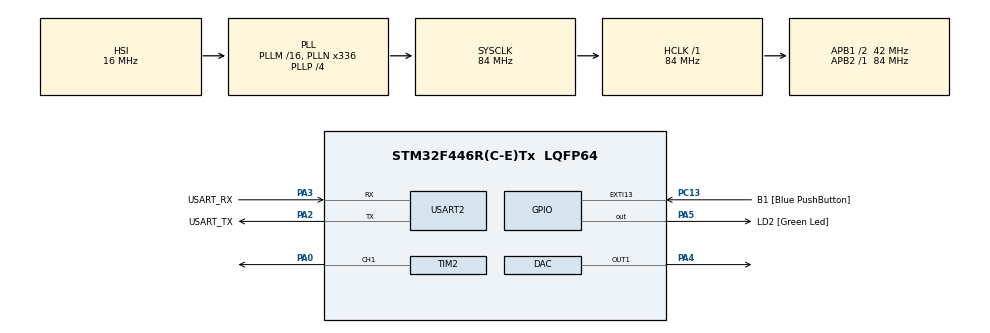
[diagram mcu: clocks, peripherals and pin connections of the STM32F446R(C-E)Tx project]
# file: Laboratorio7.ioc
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DAC.DAC_Trigger=DAC_TRIGGER_T6_TRGO
Dma.DAC1.0.Direction=DMA_MEMORY_TO_PERIPH
Dma.DAC1.0.FIFOMode=DMA_FIFOMODE_DISABLE
Dma.DAC1.0.Instance=DMA1_Stream5
Dma.DAC1.0.MemDataAlignment=DMA_MDATAALIGN_HALFWORD
Dma.DAC1.0.MemInc=DMA_MINC_ENABLE
Dma.DAC1.0.Mode=DMA_CIRCULAR
Dma.DAC1.0.PeriphDataAlignment=DMA_PDATAALIGN_HALFWORD
Dma.DAC1.0.PeriphInc=DMA_PINC_DISABLE
Dma.DAC1.0.Priority=DMA_PRIORITY_LOW
Dma.Request0=DAC1
Mcu.Family=STM32F4
Mcu.Name=STM32F446R(C-E)Tx
Mcu.Package=LQFP64
NVIC.DMA1_Stream5_IRQn=true\:0\:0\:false\:false\:true\:false\:true\:true
NVIC.PriorityGroup=NVIC_PRIORITYGROUP_0
NVIC.USART2_IRQn=true\:0\:0\:false\:false\:true\:true\:true\:true
PA0-WKUP.Signal=S_TIM2_CH1_ETR
PA13.GPIO_Label=TMS
PA13.Mode=Serial_Wire
PA13.Signal=SYS_JTMS-SWDIO
PA14.GPIO_Label=TCK
PA14.Mode=Serial_Wire
PA14.Signal=SYS_JTCK-SWCLK
PA2.GPIO_Label=USART_TX
PA2.Mode=Asynchronous
PA2.Signal=USART2_TX
PA3.GPIO_Label=USART_RX
PA3.Mode=Asynchronous
PA3.Signal=USART2_RX
PA4.Signal=COMP_DAC1_group
PA5.GPIO_Label=LD2 [Green Led]
PA5.Signal=GPIO_Output
PB3.GPIO_Label=SWO
PB3.Signal=SYS_JTDO-SWO
PC13.GPIO_Label=B1 [Blue PushButton]
PC13.GPIO_ModeDefaultEXTI=GPIO_MODE_IT_FALLING
PC13.Signal=GPXTI13
PC14-OSC32_IN.Mode=LSE-External-Oscillator
PC14-OSC32_IN.Signal=RCC_OSC32_IN
PC15-OSC32_OUT.Mode=LSE-External-Oscillator
PC15-OSC32_OUT.Signal=RCC_OSC32_OUT
PH0-OSC_IN.Mode=HSE-External-Oscillator
PH0-OSC_IN.Signal=RCC_OSC_IN
PH1-OSC_OUT.Mode=HSE-External-Oscillator
PH1-OSC_OUT.Signal=RCC_OSC_OUT
ProjectManager.HeapSize=0x200
ProjectManager.StackSize=0x400
ProjectManager.TargetToolchain=STM32CubeIDE
RCC.48MHZClocksFreq_Value=84000000
RCC.AHBFreq_Value=84000000
RCC.APB1CLKDivider=RCC_HCLK_DIV2
RCC.APB1Freq_Value=42000000
RCC.APB1TimFreq_Value=84000000
RCC.APB2Freq_Value=84000000
RCC.APB2TimFreq_Value=84000000
RCC.CortexFreq_Value=84000000
RCC.FLatency-AdvancedSettings=FLASH_LATENCY_2
RCC.HCLKFreq_Value=84000000
RCC.HSE_VALUE=8000000
RCC.HSI_VALUE=16000000
RCC.PLLN=336
RCC.PLLP=RCC_PLLP_DIV4
RCC.SYSCLKFreq_VALUE=84000000
RCC.SYSCLKSource=RCC_SYSCLKSOURCE_PLLCLK
RCC.USBFreq_Value=168000000
RCC.VCOOutputFreq_Value=336000000
SH.COMP_DAC1_group.0=DAC_OUT1,DAC_OUT1
SH.S_TIM2_CH1_ETR.0=TIM2_CH1,PWM Generation1 CH1
TIM2.Channel-PWM\ Generation1\ CH1=TIM_CHANNEL_1
TIM2.Period=100-1
TIM2.Pulse-PWM\ Generation1\ CH1=50
TIM6.Period=1000-1
TIM6.Prescaler=1
TIM6.TIM_MasterOutputTrigger=TIM_TRGO_UPDATE
USART2.VirtualMode=VM_ASYNC
VP_TIM2_VS_ClockSourceINT.Mode=Internal
VP_TIM6_VS_ClockSourceINT.Mode=Enable_Timer
board=NUCLEO-F446RE

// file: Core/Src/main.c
/* USER CODE BEGIN Header */
/**
  ******************************************************************************
  * @file           : main.c
  * @brief          : Main program body
  ******************************************************************************
  * @attention
  *
  * Copyright (c) 2026 STMicroelectronics.
  * All rights reserved.
  *
  * This software is licensed under terms that can be found in the LICENSE file
  * in the root directory of this software component.
  * If no LICENSE file comes with this software, it is provided AS-IS.
  *
  ******************************************************************************
  */
/* USER CODE END Header */
#include "main.h"

/* USER CODE BEGIN Includes */
#include "pitches.h"
#include "math.h"
#include <stdio.h>
#include <string.h>
/* USER CODE END Includes */

/* USER CODE BEGIN PD */
#define TIM_FREQ 84000000
#define VALOR_PERIODO 100

#define desd 128
#define PI 3.1415926
#define DAC_PSC 1

// Forma para comparar más fácil con una partitura
#define TEMPO 120
#define NEGRA (60000 / TEMPO)

#define REDONDA   (NEGRA * 4)
#define BLANCA    (NEGRA * 2)
#define NEGRA_D   (NEGRA)
#define CORCHEA   (NEGRA / 2)
#define SEMICORCHEA (NEGRA / 4)
/* USER CODE END PD */

DAC_HandleTypeDef hdac;
DMA_HandleTypeDef hdma_dac1;

TIM_HandleTypeDef htim2;
TIM_HandleTypeDef htim6;

UART_HandleTypeDef huart2;

/* USER CODE BEGIN PV */
uint8_t rxData = 0;
uint8_t comando = 0;
uint8_t nuevo_comando = 1;

//================ Para reproducir música=================
uint32_t Ysine[desd];

int Mario[] = {NOTE_E7, NOTE_E7, 0, NOTE_E7, 0, NOTE_C7, NOTE_E7, 0, NOTE_G7, 0, 0, 0,
	    NOTE_G6, 0, 0, 0, NOTE_C7, 0, 0, NOTE_G6, 0, 0, NOTE_E6, 0, 0, NOTE_A6, 0, NOTE_B6,
	    0, NOTE_AS6, NOTE_A6, 0, NOTE_G6, NOTE_E7, NOTE_G7, NOTE_A7, 0, NOTE_F7, NOTE_G7,
	    0, NOTE_E7, 0, NOTE_C7, NOTE_D7, NOTE_B6, 0};
int MarioDurations[] = {150,150,150,150,150,150,150,150,300,150,150,150,300,150,150,150,
	    150,150,150,150,150,150,150,150,150,150,150,150,150,150,150,150,150,150,150,
	    150,150,150,150,150,150,150,150,150,300,150};

// Arreglo de notas
int notes2[] = {
  NOTE_A4, NOTE_A4, NOTE_A4, NOTE_F4, NOTE_C5,
  NOTE_A4, NOTE_F4, NOTE_C5, NOTE_A4,

  NOTE_E5, NOTE_E5, NOTE_E5, NOTE_F5, NOTE_C5,
  NOTE_GS4, NOTE_F4, NOTE_C5, NOTE_A4,

  NOTE_A5, NOTE_A4, NOTE_A4, NOTE_A5, NOTE_GS5, NOTE_G5,
  NOTE_FS5, NOTE_F5, NOTE_FS5, NOTE_REST
};

int durations2[] = {
  // Frase 1
  NEGRA, NEGRA, NEGRA, CORCHEA + SEMICORCHEA, SEMICORCHEA,
  NEGRA, CORCHEA + SEMICORCHEA, SEMICORCHEA, BLANCA,

  // Frase 2
  NEGRA, NEGRA, NEGRA, CORCHEA + SEMICORCHEA, SEMICORCHEA,
  NEGRA, CORCHEA + SEMICORCHEA, SEMICORCHEA, BLANCA,

  // Frase 3
  NEGRA, CORCHEA + SEMICORCHEA, SEMICORCHEA,
  NEGRA, CORCHEA + SEMICORCHEA, SEMICORCHEA,
  SEMICORCHEA, SEMICORCHEA, BLANCA, NEGRA
};
uint8_t dat = 0;

/* USER CODE END PV */

void SystemClock_Config(void);
static void MX_GPIO_Init(void);
static void MX_DMA_Init(void);
static void MX_USART2_UART_Init(void);
static void MX_TIM2_Init(void);
static void MX_DAC_Init(void);
static void MX_TIM6_Init(void);
/* USER CODE BEGIN PFP */
int presForFrequency(int frequency);
void playTone(int *tone, int *duration, int *pause, int size);
void playTonePRE(int *tone, int *duration, int *pause, int size);
void noTone(void);
void generarSin(void);
int calcularARR(int freq);
void playTone2(int *tone, int *duration, int *pause, int Nsize);
void noTone2(void);
/* USER CODE END PFP */

/* USER CODE BEGIN 0 */
void generarSin(void)
{
	for (int x = 0; x < desd; x++){
		Ysine[x] = ((sin(x*2*PI/desd)+1)*(4096/2));
	}
}

int calcularARR(int freq)
{
	if (freq == 0)
		return 0;
	int TF = desd * freq;
	return ((TIM_FREQ/((DAC_PSC+1)*TF))-1);
}

int presForFrequency(int frequency)
{
	if (frequency == 0)
	{
		return 0;
	}
	return ((TIM_FREQ / (VALOR_PERIODO * frequency)) -1 );
}

void playTone(int *tone, int *duration, int *pause, int size)
{
	for (int i = 0; i < size; i++)
	{
		int prescaler = presForFrequency(tone[i]); // Calcular el prescaler
		int dur = duration[i]; // Obtener la duración
		int pauseBetweenTones = 0;
		if (pause != NULL)
		{
			pauseBetweenTones = pause[i] - duration[i];
		}

		__HAL_TIM_SET_PRESCALER(&htim2, prescaler);
		HAL_Delay(dur); // Duración de la nota
		noTone(); // Pausa
		HAL_Delay(pauseBetweenTones); // Duración sin tono
	}
}
void playTone2(int *tone, int *duration, int *pause, int Nsize)
{
	for (int i = 0; i < Nsize; i++)
	{
		int valorARR = calcularARR(tone[i]); // Calcular el prescaler
		int dur = duration[i]; // Obtener la duración
		int pauseBetweenTones = 0;
		if (pause != NULL)
		{
			pauseBetweenTones = pause[i] - duration[i];
		}

		TIM6 -> ARR = valorARR;
		HAL_Delay(dur); // Duración de la nota
		noTone2(); // Pausa
		HAL_Delay(pauseBetweenTones); // Duración sin tono
	}

}

void playTonePRE(int *tone, int *duration, int *pause, int size)
{
	for (int i = 0; i < size; i++)
	{
		int prescaler = (tone[i]); // Calcular el prescaler
		int dur = duration[i]; // Obtener la duración
		int pauseBetweenTones = 0;
		if (pause != NULL)
		{
			pauseBetweenTones = pause[i] - duration[i];
		}

		__HAL_TIM_SET_PRESCALER(&htim2, prescaler);
		HAL_Delay(dur); // Duración de la nota
		noTone(); // Pausa
		HAL_Delay(pauseBetweenTones); // Duración sin tono
	}
}

void noTone (void)
{
	__HAL_TIM_SET_PRESCALER(&htim2, 0); // Prescaler 0
}
void noTone2(void)
{
	TIM6 -> ARR = 0;
}
/* USER CODE END 0 */

int main(void)
{

  /* MCU Configuration--------------------------------------------------------*/

  /* Reset of all peripherals, Initializes the Flash interface and the Systick. */
  HAL_Init();

  /* Configure the system clock */
  SystemClock_Config();

  /* Initialize all configured peripherals */
  MX_GPIO_Init();
  MX_DMA_Init();
  MX_USART2_UART_Init();
  MX_TIM2_Init();
  MX_DAC_Init();
  MX_TIM6_Init();
  /* USER CODE BEGIN 2 */
  HAL_UART_Receive_IT(&huart2, &rxData, 1); // Disparar interrupción cuando reciba un byte

  generarSin();
  HAL_DAC_Init(&hdac);
  HAL_TIM_Base_Start(&htim6);
  HAL_DAC_Start_DMA(&hdac, DAC_CHANNEL_1, Ysine, desd, DAC_ALIGN_12B_R);

  /* USER CODE END 2 */

  /* Infinite loop */
  /* USER CODE BEGIN WHILE */

  HAL_UART_Transmit(&huart2,(uint8_t*)"Menu:\r\n",7,1000);
  HAL_UART_Transmit(&huart2,(uint8_t*)"Seleccione una opcion:\r\n",24,1000);
  HAL_UART_Transmit(&huart2,(uint8_t*)"1. Cancion 1\r\n",14,1000);
  HAL_UART_Transmit(&huart2,(uint8_t*)"2. Cancion 2\r\n",14,1000);

  noTone();
  noTone2();
  while (1)
  {

      if(comando == '1' || comando == '2'){
          //nuevo_comando = 0;

          if (comando == '1'){
              char msg[] = "Reproduciendo 1\r\n";
              HAL_UART_Transmit(&huart2, (uint8_t*)msg, strlen(msg), 1000);

              HAL_TIM_PWM_Start(&htim2, TIM_CHANNEL_1);
              playTone(Mario, MarioDurations, NULL, (sizeof(Mario)/sizeof(Mario[0])));
              noTone(); //pausa
              comando = 0;
          }
          else if (comando == '2'){
              char msg[] = "Reproduciendo 2\r\n";
              HAL_UART_Transmit(&huart2, (uint8_t*)msg, strlen(msg), 1000);

              int size = sizeof(notes2) / sizeof(notes2[0]);
              playTone2(notes2, durations2, NULL, size);
              noTone2();
              comando = 0;
          }

          // Mostrar menú después
          HAL_UART_Transmit(&huart2,(uint8_t*)"Menu:\r\n",7,1000);
          HAL_UART_Transmit(&huart2,(uint8_t*)"Seleccione una opcion:\r\n",24,1000);
          HAL_UART_Transmit(&huart2,(uint8_t*)"1. Cancion 1\r\n",14,1000);
          HAL_UART_Transmit(&huart2,(uint8_t*)"2. Cancion 2\r\n",14,1000);
      }

    /* USER CODE END WHILE */

  }
}

void SystemClock_Config(void)
{
  RCC_OscInitTypeDef RCC_OscInitStruct = {0};
  RCC_ClkInitTypeDef RCC_ClkInitStruct = {0};

  /** Configure the main internal regulator output voltage
  */
  __HAL_RCC_PWR_CLK_ENABLE();
  __HAL_PWR_VOLTAGESCALING_CONFIG(PWR_REGULATOR_VOLTAGE_SCALE3);

  /** Initializes the RCC Oscillators according to the specified parameters
  * in the RCC_OscInitTypeDef structure.
  */
  RCC_OscInitStruct.OscillatorType = RCC_OSCILLATORTYPE_HSI;
  RCC_OscInitStruct.HSIState = RCC_HSI_ON;
  RCC_OscInitStruct.HSICalibrationValue = RCC_HSICALIBRATION_DEFAULT;
  RCC_OscInitStruct.PLL.PLLState = RCC_PLL_ON;
  RCC_OscInitStruct.PLL.PLLSource = RCC_PLLSOURCE_HSI;
  RCC_OscInitStruct.PLL.PLLM = 16;
  RCC_OscInitStruct.PLL.PLLN = 336;
  RCC_OscInitStruct.PLL.PLLP = RCC_PLLP_DIV4;
  RCC_OscInitStruct.PLL.PLLQ = 2;
  RCC_OscInitStruct.PLL.PLLR = 2;
  if (HAL_RCC_OscConfig(&RCC_OscInitStruct) != HAL_OK)
  {
    Error_Handler();
  }

  /** Initializes the CPU, AHB and APB buses clocks
  */
  RCC_ClkInitStruct.ClockType = RCC_CLOCKTYPE_HCLK|RCC_CLOCKTYPE_SYSCLK
                              |RCC_CLOCKTYPE_PCLK1|RCC_CLOCKTYPE_PCLK2;
  RCC_ClkInitStruct.SYSCLKSource = RCC_SYSCLKSOURCE_PLLCLK;
  RCC_ClkInitStruct.AHBCLKDivider = RCC_SYSCLK_DIV1;
  RCC_ClkInitStruct.APB1CLKDivider = RCC_HCLK_DIV2;
  RCC_ClkInitStruct.APB2CLKDivider = RCC_HCLK_DIV1;

  if (HAL_RCC_ClockConfig(&RCC_ClkInitStruct, FLASH_LATENCY_2) != HAL_OK)
  {
    Error_Handler();
  }
}

static void MX_DAC_Init(void)
{

  DAC_ChannelConfTypeDef sConfig = {0};

  /** DAC Initialization
  */
  hdac.Instance = DAC;
  if (HAL_DAC_Init(&hdac) != HAL_OK)
  {
    Error_Handler();
  }

  /** DAC channel OUT1 config
  */
  sConfig.DAC_Trigger = DAC_TRIGGER_T6_TRGO;
  sConfig.DAC_OutputBuffer = DAC_OUTPUTBUFFER_ENABLE;
  if (HAL_DAC_ConfigChannel(&hdac, &sConfig, DAC_CHANNEL_1) != HAL_OK)
  {
    Error_Handler();
  }

}

static void MX_TIM2_Init(void)
{

  TIM_ClockConfigTypeDef sClockSourceConfig = {0};
  TIM_MasterConfigTypeDef sMasterConfig = {0};
  TIM_OC_InitTypeDef sConfigOC = {0};

  htim2.Instance = TIM2;
  htim2.Init.Prescaler = 0;
  htim2.Init.CounterMode = TIM_COUNTERMODE_UP;
  htim2.Init.Period = 100-1;
  htim2.Init.ClockDivision = TIM_CLOCKDIVISION_DIV1;
  htim2.Init.AutoReloadPreload = TIM_AUTORELOAD_PRELOAD_DISABLE;
  if (HAL_TIM_Base_Init(&htim2) != HAL_OK)
  {
    Error_Handler();
  }
  sClockSourceConfig.ClockSource = TIM_CLOCKSOURCE_INTERNAL;
  if (HAL_TIM_ConfigClockSource(&htim2, &sClockSourceConfig) != HAL_OK)
  {
    Error_Handler();
  }
  if (HAL_TIM_PWM_Init(&htim2) != HAL_OK)
  {
    Error_Handler();
  }
  sMasterConfig.MasterOutputTrigger = TIM_TRGO_RESET;
  sMasterConfig.MasterSlaveMode = TIM_MASTERSLAVEMODE_DISABLE;
  if (HAL_TIMEx_MasterConfigSynchronization(&htim2, &sMasterConfig) != HAL_OK)
  {
    Error_Handler();
  }
  sConfigOC.OCMode = TIM_OCMODE_PWM1;
  sConfigOC.Pulse = 50;
  sConfigOC.OCPolarity = TIM_OCPOLARITY_HIGH;
  sConfigOC.OCFastMode = TIM_OCFAST_DISABLE;
  if (HAL_TIM_PWM_ConfigChannel(&htim2, &sConfigOC, TIM_CHANNEL_1) != HAL_OK)
  {
    Error_Handler();
  }
  HAL_TIM_MspPostInit(&htim2);

}

static void MX_TIM6_Init(void)
{

  TIM_MasterConfigTypeDef sMasterConfig = {0};

  htim6.Instance = TIM6;
  htim6.Init.Prescaler = 1;
  htim6.Init.CounterMode = TIM_COUNTERMODE_UP;
  htim6.Init.Period = 1000-1;
  htim6.Init.AutoReloadPreload = TIM_AUTORELOAD_PRELOAD_DISABLE;
  if (HAL_TIM_Base_Init(&htim6) != HAL_OK)
  {
    Error_Handler();
  }
  sMasterConfig.MasterOutputTrigger = TIM_TRGO_UPDATE;
  sMasterConfig.MasterSlaveMode = TIM_MASTERSLAVEMODE_DISABLE;
  if (HAL_TIMEx_MasterConfigSynchronization(&htim6, &sMasterConfig) != HAL_OK)
  {
    Error_Handler();
  }

}

static void MX_USART2_UART_Init(void)
{

  huart2.Instance = USART2;
  huart2.Init.BaudRate = 115200;
  huart2.Init.WordLength = UART_WORDLENGTH_8B;
  huart2.Init.StopBits = UART_STOPBITS_1;
  huart2.Init.Parity = UART_PARITY_NONE;
  huart2.Init.Mode = UART_MODE_TX_RX;
  huart2.Init.HwFlowCtl = UART_HWCONTROL_NONE;
  huart2.Init.OverSampling = UART_OVERSAMPLING_16;
  if (HAL_UART_Init(&huart2) != HAL_OK)
  {
    Error_Handler();
  }

}

static void MX_DMA_Init(void)
{

  /* DMA controller clock enable */
  __HAL_RCC_DMA1_CLK_ENABLE();

  /* DMA interrupt init */
  /* DMA1_Stream5_IRQn interrupt configuration */
  HAL_NVIC_SetPriority(DMA1_Stream5_IRQn, 0, 0);
  HAL_NVIC_EnableIRQ(DMA1_Stream5_IRQn);

}

static void MX_GPIO_Init(void)
{
  GPIO_InitTypeDef GPIO_InitStruct = {0};

  /* GPIO Ports Clock Enable */
  __HAL_RCC_GPIOC_CLK_ENABLE();
  __HAL_RCC_GPIOH_CLK_ENABLE();
  __HAL_RCC_GPIOA_CLK_ENABLE();
  __HAL_RCC_GPIOB_CLK_ENABLE();

  /*Configure GPIO pin Output Level */
  HAL_GPIO_WritePin(LD2_GPIO_Port, LD2_Pin, GPIO_PIN_RESET);

  /*Configure GPIO pin : B1_Pin */
  GPIO_InitStruct.Pin = B1_Pin;
  GPIO_InitStruct.Mode = GPIO_MODE_IT_FALLING;
  GPIO_InitStruct.Pull = GPIO_NOPULL;
  HAL_GPIO_Init(B1_GPIO_Port, &GPIO_InitStruct);

  /*Configure GPIO pin : LD2_Pin */
  GPIO_InitStruct.Pin = LD2_Pin;
  GPIO_InitStruct.Mode = GPIO_MODE_OUTPUT_PP;
  GPIO_InitStruct.Pull = GPIO_NOPULL;
  GPIO_InitStruct.Speed = GPIO_SPEED_FREQ_LOW;
  HAL_GPIO_Init(LD2_GPIO_Port, &GPIO_InitStruct);

}

/* USER CODE BEGIN 4 */
void HAL_UART_RxCpltCallback(UART_HandleTypeDef *huart)
{
    if (huart->Instance == USART2)
    {
        comando = rxData;
        nuevo_comando = 1;

        HAL_UART_Receive_IT(&huart2, &rxData, 1); //Vuelvo a iniciar el comando para interrupcion
    }
}

/* USER CODE END 4 */

void Error_Handler(void)
{
  __disable_irq();
  while (1)
  {
  }
}
